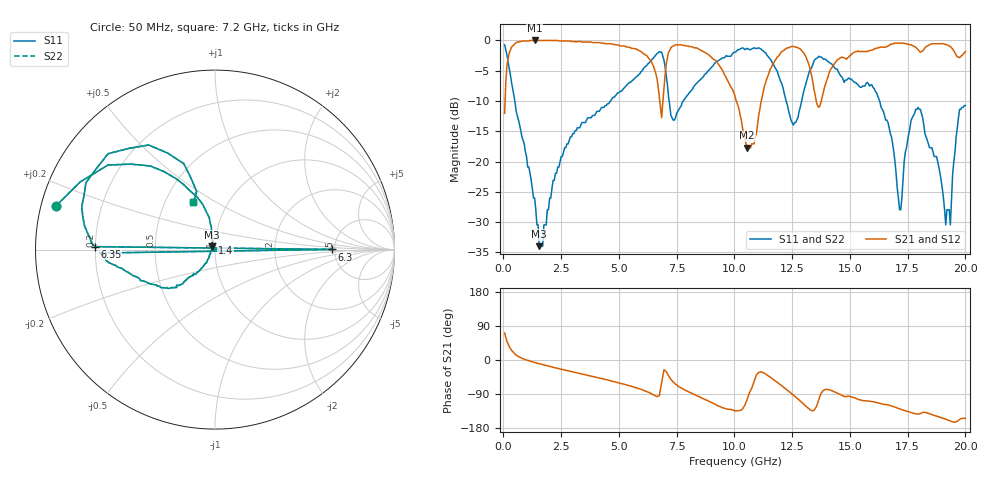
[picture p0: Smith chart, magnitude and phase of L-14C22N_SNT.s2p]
#	mhz	s	ma	r	50
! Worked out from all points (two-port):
!   400 points, 50 MHz to 20 GHz, reference 50 ohm
!   highest |S21| = 0.00 dB at 1.35 GHz (marker M1); lowest = -17.7 dB at 10.55 GHz (marker M2)
!   |S21| within 3 dB of the highest: 204.7 MHz to 6.305 GHz (6.1 GHz wide, 187 % of centre); 14.87 GHz to end of sweep (the widest 2 of 5)
!   lowest |S11| = -34.0 dB at 1.55 GHz (marker M3), VSWR 1.04, Z = 48.5 + j1.21 ohm
!   |S11| at or under -10 dB: 491.8 MHz to 4.631 GHz (4.14 GHz wide, 162 % of centre); 12.24 GHz to 12.91 GHz (671.5 MHz wide, 5.34 % of centre); 16.28 GHz to end of sweep (the widest 3 of 4)
!   |S22| runs from -34.0 to -0.7 dB; largest |S21 - S12| = 0
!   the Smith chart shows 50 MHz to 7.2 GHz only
!   S11 on the Smith chart (normalised r, x): 50 MHz: 0.04, +0.13; 1.4 GHz: 0.97, +0.07; 6.3 GHz: 4.71, +0.02; 6.35 GHz: 0.20, +0.01; 7.2 GHz: 0.69, +0.40
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50  0.92 164.8  0.25 71.1  0.25 71.1  0.92 164.8
500  0.31 108.8  0.94 15.9  0.94 15.9  0.31 108.8
1350  0.05 106.9  1 -6.6  1 -6.6  0.05 106.9
1400  0.04 113.4  1 -7.5  1 -7.5  0.04 113.4
1550  0.02 141.2  1 -10.0  1 -10.0  0.02 141.2
3400  0.21 -132.5  0.97 -36.9  0.97 -36.9  0.21 -132.5
6250  0.64 -178.3  0.73 -84.5  0.73 -84.5  0.64 -178.3
6300  0.65 0.1  0.71 -85.8  0.71 -85.8  0.65 0.1
6350  0.67 178.6  0.69 -87.2  0.69 -87.2  0.67 178.6
6700  0.79 157.4  0.41 -95.1  0.41 -95.1  0.79 157.4
7200  0.29 114.4  0.83 -46.4  0.83 -46.4  0.29 114.4
8350  0.44 160.3  0.87 -93.5  0.87 -93.5  0.44 160.3
10050  0.8 123.3  0.33 -134.2  0.33 -134.2  0.8 123.3
10550  0.86 106.6  0.13 -104.4  0.13 -104.4  0.86 106.6
12450  0.22 61.0  0.89 -87.7  0.89 -87.7  0.22 61.0
13350  0.6 94.3  0.5 -134.1  0.5 -134.1  0.6 94.3
14200  0.64 19.4  0.59 -80.5  0.59 -80.5  0.64 19.4
16700  0.19 -29.5  0.91 -119.3  0.91 -119.3  0.19 -29.5
17200  0.04 22.4  0.95 -130.1  0.95 -130.1  0.04 22.4
18050  0.27 49.0  0.8 -141.4  0.8 -141.4  0.27 49.0
19350  0.03 35.8  0.89 -160.9  0.89 -160.9  0.03 35.8
20000  0.29 -51.8  0.81 -154.1  0.81 -154.1  0.29 -51.8
